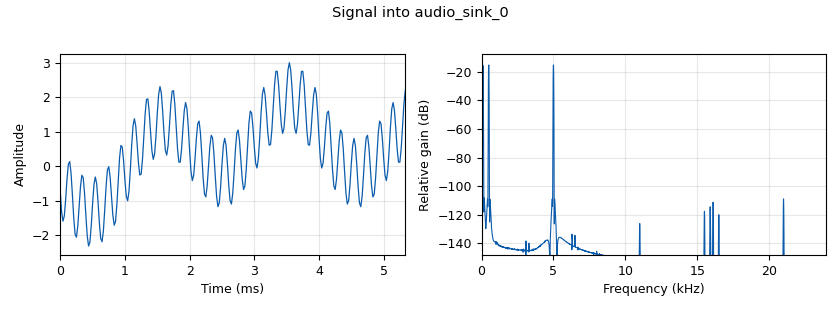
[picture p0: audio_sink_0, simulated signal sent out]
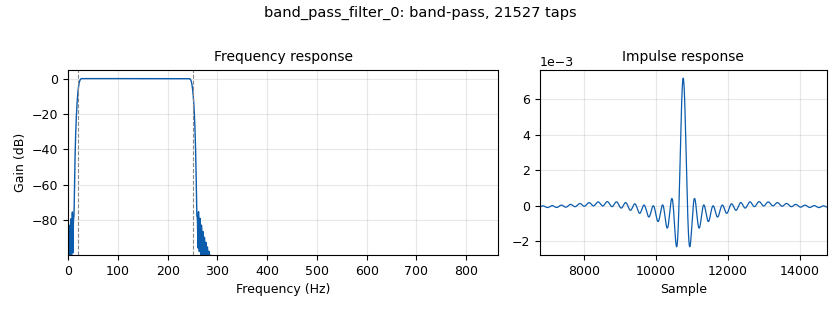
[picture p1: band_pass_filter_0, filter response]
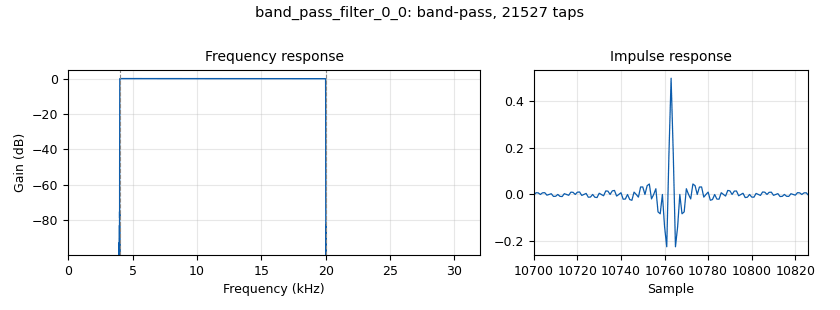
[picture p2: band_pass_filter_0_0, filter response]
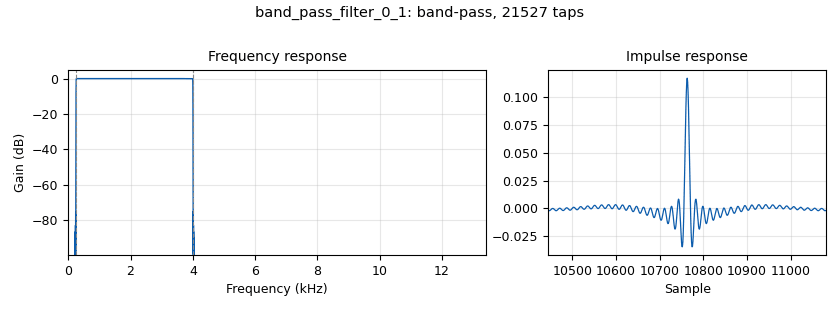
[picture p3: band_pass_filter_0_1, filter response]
options:
  parameters:
    author: vivelpanel
    generate_options: qt_gui
    id: equalizer
    output_language: python
    title: Equalizer
  states: {}

blocks:
- name: bass
  id: variable_qtgui_range
  parameters:
    label: Bass
    start: '0'
    step: '.01'
    stop: '10'
    value: '1'
  states: {}
- name: mid
  id: variable_qtgui_range
  parameters:
    label: Mid
    start: '0'
    step: '.01'
    stop: '10'
    value: '1'
  states: {}
- name: samp_rate
  id: variable
  parameters:
    value: '32000'
  states: {}
- name: treble
  id: variable_qtgui_range
  parameters:
    label: Treble
    start: '0'
    step: '.01'
    stop: '10'
    value: '1'
  states: {}
- name: analog_sig_source_x_0
  id: analog_sig_source_x
  parameters:
    amp: '1'
    freq: '200'
    offset: '0'
    phase: '0'
    samp_rate: samp_rate
    type: complex
    waveform: analog.GR_COS_WAVE
  states: {}
- name: analog_sig_source_x_1
  id: analog_sig_source_x
  parameters:
    amp: '1'
    freq: '1000'
    offset: '0'
    phase: '0'
    samp_rate: samp_rate
    type: complex
    waveform: analog.GR_COS_WAVE
  states: {}
- name: analog_sig_source_x_2
  id: analog_sig_source_x
  parameters:
    amp: '1'
    freq: 10e3
    offset: '0'
    phase: '0'
    samp_rate: samp_rate
    type: complex
    waveform: analog.GR_COS_WAVE
  states: {}
- name: audio_sink_0
  id: audio_sink
  parameters:
    samp_rate: '48000'
  states: {}
- name: audio_source_0
  id: audio_source
  parameters:
    samp_rate: samp_rate
  states: {state: disabled}
- name: band_pass_filter_0
  id: band_pass_filter
  parameters:
    decim: '1'
    gain: '1'
    high_cutoff_freq: '250'
    low_cutoff_freq: '20'
    samp_rate: samp_rate*2
    type: fir_filter_fff
    width: '10'
    win: window.WIN_BLACKMAN
  states: {}
- name: band_pass_filter_0_0
  id: band_pass_filter
  parameters:
    decim: '1'
    gain: '1'
    high_cutoff_freq: '20000'
    low_cutoff_freq: '4000'
    samp_rate: samp_rate*2
    type: fir_filter_fff
    width: '10'
    win: window.WIN_BLACKMAN
  states: {}
- name: band_pass_filter_0_1
  id: band_pass_filter
  parameters:
    decim: '1'
    gain: '1'
    high_cutoff_freq: '4000'
    low_cutoff_freq: '250'
    samp_rate: samp_rate*2
    type: fir_filter_fff
    width: '10'
    win: window.WIN_BLACKMAN
  states: {}
- name: blocks_add_xx_0
  id: blocks_add_xx
  parameters:
    num_inputs: '3'
    type: float
  states: {}
- name: blocks_add_xx_0_0
  id: blocks_add_xx
  parameters:
    num_inputs: '3'
    type: complex
  states: {}
- name: blocks_complex_to_float_0
  id: blocks_complex_to_float
  parameters: {}
  states: {}
- name: blocks_multiply_const_vxx_0
  id: blocks_multiply_const_vxx
  parameters:
    const: treble
    type: float
  states: {}
- name: blocks_multiply_const_vxx_0_0
  id: blocks_multiply_const_vxx
  parameters:
    const: bass
    type: float
  states: {}
- name: blocks_multiply_const_vxx_0_1
  id: blocks_multiply_const_vxx
  parameters:
    const: mid
    type: float
  states: {}
- name: blocks_throttle_1
  id: blocks_throttle
  parameters:
    samples_per_second: samp_rate
    type: complex
  states: {}
- name: rational_resampler_xxx_0
  id: rational_resampler_xxx
  parameters:
    decim: '32000'
    interp: '48000'
    type: fff
  states: {}
- name: rational_resampler_xxx_1
  id: rational_resampler_xxx
  parameters:
    decim: '1'
    interp: '2'
    type: ccc
  states: {}

connections:
- [analog_sig_source_x_0, '0', blocks_add_xx_0_0, '0']
- [analog_sig_source_x_1, '0', blocks_add_xx_0_0, '1']
- [analog_sig_source_x_2, '0', blocks_add_xx_0_0, '2']
- [audio_source_0, '0', band_pass_filter_0, '0']
- [audio_source_0, '0', band_pass_filter_0_0, '0']
- [audio_source_0, '0', band_pass_filter_0_1, '0']
- [band_pass_filter_0, '0', blocks_multiply_const_vxx_0_0, '0']
- [band_pass_filter_0_0, '0', blocks_multiply_const_vxx_0, '0']
- [band_pass_filter_0_1, '0', blocks_multiply_const_vxx_0_1, '0']
- [blocks_add_xx_0, '0', rational_resampler_xxx_0, '0']
- [blocks_add_xx_0_0, '0', blocks_throttle_1, '0']
- [blocks_complex_to_float_0, '0', band_pass_filter_0, '0']
- [blocks_complex_to_float_0, '0', band_pass_filter_0_0, '0']
- [blocks_complex_to_float_0, '0', band_pass_filter_0_1, '0']
- [blocks_multiply_const_vxx_0, '0', blocks_add_xx_0, '2']
- [blocks_multiply_const_vxx_0_0, '0', blocks_add_xx_0, '0']
- [blocks_multiply_const_vxx_0_1, '0', blocks_add_xx_0, '1']
- [blocks_throttle_1, '0', rational_resampler_xxx_1, '0']
- [rational_resampler_xxx_0, '0', audio_sink_0, '0']
- [rational_resampler_xxx_1, '0', blocks_complex_to_float_0, '0']

metadata:
  file_format: 1
